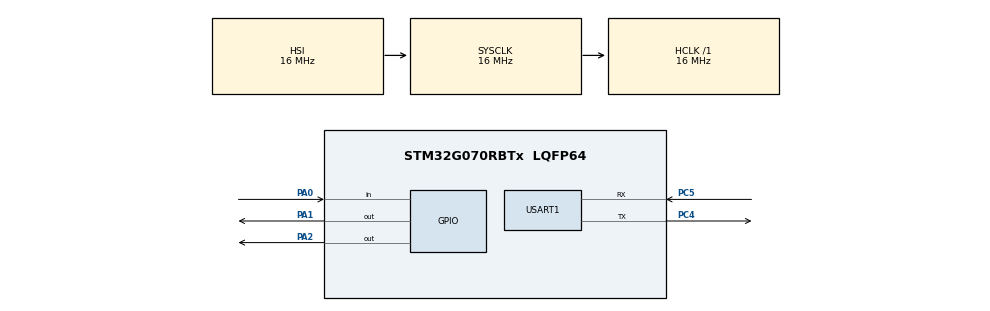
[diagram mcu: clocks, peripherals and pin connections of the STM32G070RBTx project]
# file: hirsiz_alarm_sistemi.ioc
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Mcu.Family=STM32G0
Mcu.Name=STM32G070RBTx
Mcu.Package=LQFP64
PA0.Signal=GPIO_Input
PA1.Signal=GPIO_Output
PA2.Signal=GPIO_Output
PC4.Mode=Asynchronous
PC4.Signal=USART1_TX
PC5.Mode=Asynchronous
PC5.Signal=USART1_RX
ProjectManager.HeapSize=0x200
ProjectManager.StackSize=0x400
ProjectManager.TargetToolchain=STM32CubeIDE
RCC.AHBFreq_Value=16000000
RCC.CortexFreq_Value=16000000
RCC.EXTERNAL_CLOCK_VALUE=48000
RCC.HCLKFreq_Value=16000000
RCC.HSE_VALUE=8000000
RCC.HSI_VALUE=16000000
RCC.LSE_VALUE=32768
RCC.SYSCLKFreq_VALUE=16000000
RCC.VCOOutputFreq_Value=128000000
USART1.VirtualMode-Asynchronous=VM_ASYNC
board=custom

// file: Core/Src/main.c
/* USER CODE BEGIN Header */
/**
  ******************************************************************************
  * @file           : main.c
  * @brief          : Main program body
  ******************************************************************************
  * @attention
  *
  * Copyright (c) 2024 STMicroelectronics.
  * All rights reserved.
  *
  * This software is licensed under terms that can be found in the LICENSE file
  * in the root directory of this software component.
  * If no LICENSE file comes with this software, it is provided AS-IS.
  *
  ******************************************************************************
  */
/* USER CODE END Header */

#include "main.h"

/* USER CODE BEGIN Includes */
#define PIR_SENSOR_PIN    GPIO_PIN_0
#define PIR_SENSOR_PORT   GPIOA
#define BUZZER_PIN        GPIO_PIN_1
#define BUZZER_PORT       GPIOA
#define LED_PIN           GPIO_PIN_2
#define LED_PORT          GPIOA

/* USER CODE END Includes */

UART_HandleTypeDef huart1;

/* USER CODE BEGIN PV */
const char* hareket_var_msg = "Hareket algılandı!\r\n";
const char* hareket_yok_msg = "Hareket algılanmadı.\r\n";
/* USER CODE END PV */

void SystemClock_Config(void);
static void MX_GPIO_Init(void);
static void MX_USART1_UART_Init(void);

int main(void)
{

    /* MCU Configuration--------------------------------------------------------*/
    HAL_Init();
    SystemClock_Config();
    MX_GPIO_Init();
    MX_USART1_UART_Init();

    /* Infinite loop */
    /* USER CODE BEGIN WHILE */
    while (1)
    {
        // PIR sensörü aktifse
        if (HAL_GPIO_ReadPin(PIR_SENSOR_PORT, PIR_SENSOR_PIN) == GPIO_PIN_SET)
        {
            // Buzzer'ı çal ve LED'i yak
            HAL_GPIO_WritePin(BUZZER_PORT, BUZZER_PIN, GPIO_PIN_SET);
            HAL_GPIO_WritePin(LED_PORT, LED_PIN, GPIO_PIN_SET);

            // Hareket algılandı mesajını gönder
            HAL_UART_Transmit(&huart1, (uint8_t*)hareket_var_msg, strlen(hareket_var_msg), HAL_MAX_DELAY);
        }
        else
        {
            // Buzzer'ı kapat ve LED'i söndür
            HAL_GPIO_WritePin(BUZZER_PORT, BUZZER_PIN, GPIO_PIN_RESET);
            HAL_GPIO_WritePin(LED_PORT, LED_PIN, GPIO_PIN_RESET);

            // Hareket algılanmadı mesajını gönder
            HAL_UART_Transmit(&huart1, (uint8_t*)hareket_yok_msg, strlen(hareket_yok_msg), HAL_MAX_DELAY);
        }
        HAL_Delay(100); // 100 ms gecikme
    }
    /* USER CODE END WHILE */
}

void SystemClock_Config(void)
{
    RCC_OscInitTypeDef RCC_OscInitStruct = {0};
    RCC_ClkInitTypeDef RCC_ClkInitStruct = {0};

    /** Configure the main internal regulator output voltage
    */
    HAL_PWREx_ControlVoltageScaling(PWR_REGULATOR_VOLTAGE_SCALE1);

    /** Initializes the RCC Oscillators according to the specified parameters
    * in the RCC_OscInitTypeDef structure.
    */
    RCC_OscInitStruct.OscillatorType = RCC_OSCILLATORTYPE_HSI;
    RCC_OscInitStruct.HSIState = RCC_HSI_ON;
    RCC_OscInitStruct.HSIDiv = RCC_HSI_DIV1;
    RCC_OscInitStruct.HSICalibrationValue = RCC_HSICALIBRATION_DEFAULT;
    RCC_OscInitStruct.PLL.PLLState = RCC_PLL_NONE;
    if (HAL_RCC_OscConfig(&RCC_OscInitStruct) != HAL_OK)
    {
        Error_Handler();
    }

    /** Initializes the CPU, AHB and APB buses clocks
    */
    RCC_ClkInitStruct.ClockType = RCC_CLOCKTYPE_HCLK | RCC_CLOCKTYPE_SYSCLK
                                  | RCC_CLOCKTYPE_PCLK1;
    RCC_ClkInitStruct.SYSCLKSource = RCC_SYSCLKSOURCE_HSI;
    RCC_ClkInitStruct.AHBCLKDivider = RCC_SYSCLK_DIV1;
    RCC_ClkInitStruct.APB1CLKDivider = RCC_HCLK_DIV1;

    if (HAL_RCC_ClockConfig(&RCC_ClkInitStruct, FLASH_LATENCY_0) != HAL_OK)
    {
        Error_Handler();
    }
}

static void MX_USART1_UART_Init(void)
{
    huart1.Instance = USART1;
    huart1.Init.BaudRate = 9600;
    huart1.Init.WordLength = UART_WORDLENGTH_8B;
    huart1.Init.StopBits = UART_STOPBITS_1;
    huart1.Init.Parity = UART_PARITY_NONE;
    huart1.Init.Mode = UART_MODE_TX_RX;
    huart1.Init.HwFlowCtl = UART_HWCONTROL_NONE;
    huart1.Init.OverSampling = UART_OVERSAMPLING_16;
    if (HAL_UART_Init(&huart1) != HAL_OK)
    {
        Error_Handler();
    }
}

static void MX_GPIO_Init(void)
{
    GPIO_InitTypeDef GPIO_InitStruct = {0};

    __HAL_RCC_GPIOA_CLK_ENABLE();
    __HAL_RCC_GPIOC_CLK_ENABLE();

    // PIR sensör pinini giriş olarak ayarla
    GPIO_InitStruct.Pin = PIR_SENSOR_PIN;
    GPIO_InitStruct.Mode = GPIO_MODE_INPUT;
    GPIO_InitStruct.Pull = GPIO_NOPULL;
    HAL_GPIO_Init(PIR_SENSOR_PORT, &GPIO_InitStruct);

    // Buzzer ve LED pinlerini çıkış olarak ayarla
    GPIO_InitStruct.Pin = BUZZER_PIN | LED_PIN;
    GPIO_InitStruct.Mode = GPIO_MODE_OUTPUT_PP;
    GPIO_InitStruct.Pull = GPIO_NOPULL;
    GPIO_InitStruct.Speed = GPIO_SPEED_FREQ_LOW;
    HAL_GPIO_Init(GPIOA, &GPIO_InitStruct);
}

/* USER CODE BEGIN 0 */
void Error_Handler(void)
{
    // Hata durumunda buraya düşecektir. İsterseniz burada bir LED yakıp söndürebilirsiniz.
    while (1)
    {
        // Hata durumunu göstermek için LED'i yanıp söndürebilir veya başka bir şey yapabilirsiniz
    }
}
/* USER CODE END 0 */
